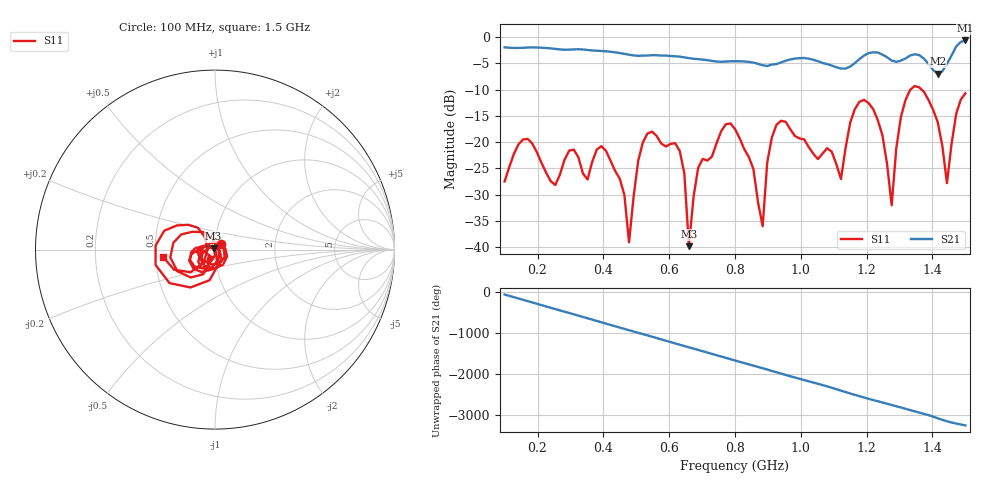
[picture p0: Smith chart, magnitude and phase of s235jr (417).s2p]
! NanoVNA-App
! Date: 2025-09-25 15:07:24
! Start: 100MHz Stop: 1,5GHz Points: 101
! S-Parameter data: F S11 S21 S12 S22
# Hz S RI R 50
!  Frequency  S11_Real  S11_Imag  S21_Real  S21_Imag  S12_Real  S12_Imag  S22_Real  S22_Imag
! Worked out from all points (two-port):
!   101 points, 100 MHz to 1.5 GHz, reference 50 ohm
!   highest |S21| = -0.66 dB at 1.5 GHz (marker M1); lowest = -7.0 dB at 1.416 GHz (marker M2)
!   |S21| within 3 dB of the highest: start of sweep to 615.6 MHz; 1.189 GHz to 1.256 GHz (67.05 MHz wide, 5.48 % of centre)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
!   lowest |S11| = -39.8 dB at 660 MHz (marker M3), VSWR 1.02, Z = 49.2 + j0.618 ohm
!   |S11| at or under -10 dB: start of sweep to 1.333 GHz; 1.367 GHz to end of sweep
!   S12 and S22 are empty: the file has one direction only
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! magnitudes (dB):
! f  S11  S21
! 100 MHz  -27.5  -2.0
! 170 MHz  -19.4  -2.0
! 338 MHz  -26.0  -2.4
! 408 MHz  -21.6  -2.7
! 478 MHz  -39.0  -3.4
! 520 MHz  -20.1  -3.5
! 576 MHz  -20.3  -3.5
! 632 MHz  -21.7  -3.7
! 660 MHz  -39.8  -4.0
! 688 MHz  -24.9  -4.2
! 800 MHz  -17.5  -4.6
! 884 MHz  -36.0  -5.4
! 926 MHz  -16.7  -5.2
! 1.038 GHz  -22.2  -4.3
! 1.122 GHz  -27.0  -6.0
! 1.192 GHz  -11.9  -3.5
! 1.248 GHz  -18.7  -3.4
! 1.276 GHz  -32.0  -4.5
! 1.332 GHz  -10.0  -3.5
! 1.416 GHz  -16.2  -7.0
! 1.444 GHz  -27.8  -5.1
! 1.5 GHz  -10.7  -0.7
